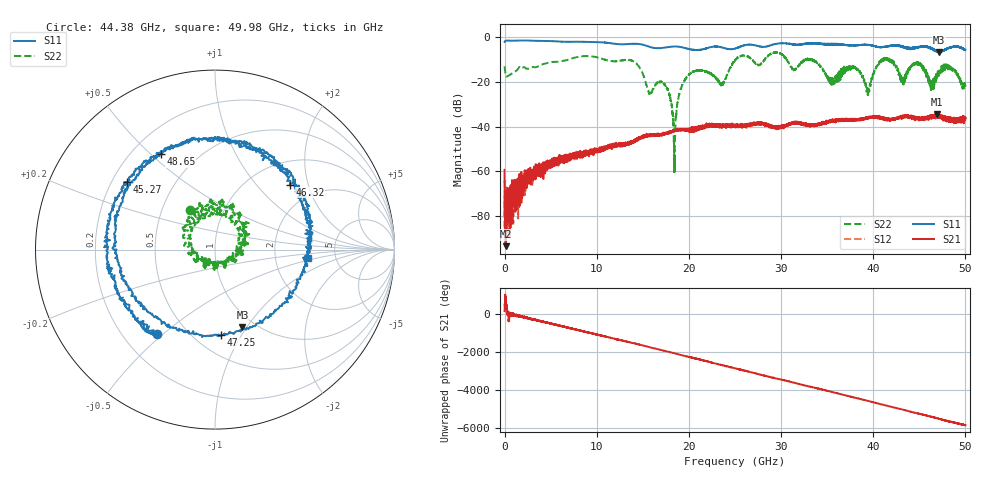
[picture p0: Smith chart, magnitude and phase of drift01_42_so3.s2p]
!Created with skrf (http://scikit-rf.org).
# Hz S RI R 50.0
!freq ReS11 ImS11 ReS21 ImS21 ReS12 ImS12 ReS22 ImS22
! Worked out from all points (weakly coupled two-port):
!   10001 points, 300 kHz to 50 GHz, reference 50 ohm
!   highest |S21| = -34.38 dB at 46.9 GHz (marker M1); lowest = -93.7 dB at 115.3 MHz (marker M2)
!   lowest |S11| = -6.8 dB at 47.15 GHz (marker M3), VSWR 2.70, Z = 43.6 - j47.8 ohm
!   |S11| at or under -10 dB: nowhere
!   |S22| runs from -60.5 to -6.6 dB; largest |S21 - S12| = 0.0039
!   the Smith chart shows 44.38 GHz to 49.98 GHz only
!   S11 on the Smith chart (normalised r, x): 44.38 GHz: 0.34, -0.48; 45.27 GHz: 0.26, +0.32; 46.32 GHz: 1.47, +1.54; 47.25 GHz: 0.67, -0.82; 48.65 GHz: 0.32, +0.54; 49.98 GHz: 3.13, -0.40
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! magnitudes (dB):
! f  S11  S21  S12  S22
! 300 kHz  -2.0  -59.4  -64.1  -12.9
! 115.3 MHz  -1.5  -93.7  -76.7  -17.0
! 8.335 GHz  -1.9  -52.5  -53.1  -8.5
! 16.67 GHz  -4.8  -44.0  -43.7  -20.0
! 17.74 GHz  -4.3  -42.7  -43.0  -23.7
! 18.43 GHz  -4.1  -41.8  -41.8  -52.1
! 19.9 GHz  -5.1  -41.7  -41.6  -17.2
! 23.59 GHz  -4.5  -39.0  -39.4  -20.3
! 25 GHz  -5.0  -39.8  -39.6  -10.5
! 33.34 GHz  -2.6  -39.2  -39.8  -9.8
! 39.36 GHz  -3.3  -36.1  -36.3  -23.1
! 41.67 GHz  -3.9  -36.6  -36.9  -9.9
! 43.18 GHz  -4.2  -35.3  -35.9  -18.7
! 44.38 GHz  -4.9  -36.2  -36.5  -11.7
! 45.27 GHz  -4.2  -35.9  -36.2  -12.7
! 46.32 GHz  -5.2  -36.1  -35.5  -19.7
! 46.9 GHz  -6.0  -34.4  -35.3  -17.8
! 47.15 GHz  -6.8  -35.8  -35.5  -15.3
! 47.25 GHz  -6.4  -35.2  -35.3  -16.0
! 48.65 GHz  -4.3  -37.6  -37.3  -14.3
! 49.98 GHz  -5.6  -36.1  -35.9  -21.7
! 50 GHz  -5.6  -36.2  -36.5  -21.9
